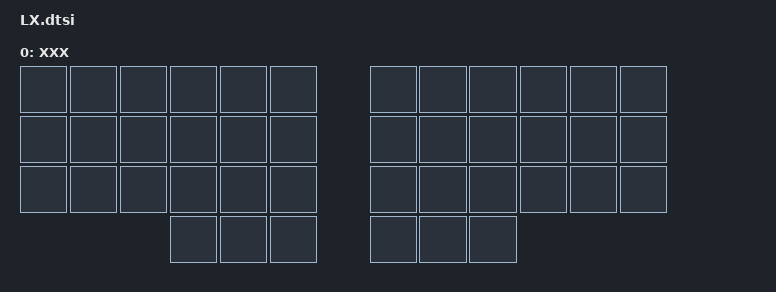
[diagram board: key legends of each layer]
/**
 *  x Layer
 */

/ {
  keymap {
    compatible = "zmk,keymap";

    layer_X {
      label = "XXX";
      bindings = <
// ╭───────────────┬───────────────┬───────────────┬───────────────┬───────────────┬───────────────╮   ╭───────────────┬───────────────┬───────────────┬───────────────┬───────────────┬───────────────╮
//  0               1               2               3               4               5                   6               7               8               9               10              11
    &none           &none           &none           &none           &none           &none               &none           &none           &none           &none           &none           &none           
// ├───────────────├───────────────┼───────────────┼───────────────┼───────────────┼───────────────┤   ├───────────────├───────────────┼───────────────┼───────────────┼───────────────┼───────────────┤
//  12              13              14              15              16              17                  18              19              20              21              22              23
    &none           &none           &none           &none           &none           &none               &none           &none           &none           &none           &none           &none           
// ├───────────────├───────────────┼───────────────┼───────────────┼───────────────┼───────────────┤   ├───────────────├───────────────┼───────────────┼───────────────┼───────────────┼───────────────┤
//  24              25              26              27              28              29                  30              31              32              33              34              35
    &none           &none           &none           &none           &none           &none               &none           &none           &none           &none           &none           &none           
// ╰───────────────┴───────────────┴───────────────┼───────────────┼───────────────┼───────────────┤   ├───────────────├───────────────┼───────────────┼───────────────┴───────────────┴───────────────╯
//                                                  36              37              38                  39              40              41
                                                    &none           &none           &none               &none           &none           &none
//                                                 ╰───────────────┴───────────────┴───────────────╯   ╰───────────────┴───────────────┴───────────────╯
      >;
    };
  };
};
